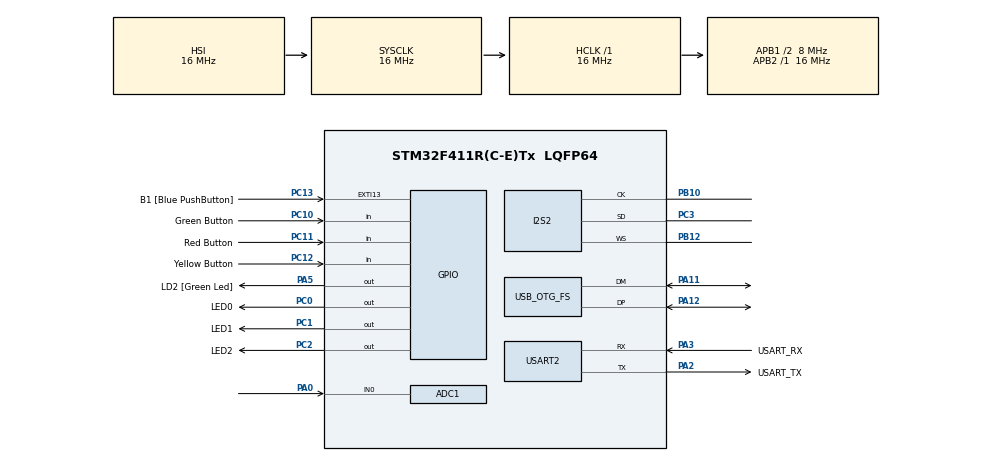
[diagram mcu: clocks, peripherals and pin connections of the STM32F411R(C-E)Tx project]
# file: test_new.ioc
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ADC1.Channel-10\#ChannelRegularConversion=ADC_CHANNEL_0
ADC1.ContinuousConvMode=ENABLE
ADC1.DMAContinuousRequests=ENABLE
ADC1.NbrOfConversionFlag=1
ADC1.Rank-10\#ChannelRegularConversion=1
ADC1.SamplingTime-10\#ChannelRegularConversion=ADC_SAMPLETIME_3CYCLES
ADC1.master=1
Dma.ADC1.0.Direction=DMA_PERIPH_TO_MEMORY
Dma.ADC1.0.FIFOMode=DMA_FIFOMODE_DISABLE
Dma.ADC1.0.Instance=DMA2_Stream0
Dma.ADC1.0.MemDataAlignment=DMA_MDATAALIGN_HALFWORD
Dma.ADC1.0.MemInc=DMA_MINC_ENABLE
Dma.ADC1.0.Mode=DMA_CIRCULAR
Dma.ADC1.0.PeriphDataAlignment=DMA_PDATAALIGN_HALFWORD
Dma.ADC1.0.PeriphInc=DMA_PINC_DISABLE
Dma.ADC1.0.Priority=DMA_PRIORITY_LOW
Dma.Request0=ADC1
Dma.Request1=SPI2_TX
Dma.SPI2_TX.1.Direction=DMA_MEMORY_TO_PERIPH
Dma.SPI2_TX.1.FIFOMode=DMA_FIFOMODE_DISABLE
Dma.SPI2_TX.1.Instance=DMA1_Stream4
Dma.SPI2_TX.1.MemDataAlignment=DMA_MDATAALIGN_HALFWORD
Dma.SPI2_TX.1.MemInc=DMA_MINC_ENABLE
Dma.SPI2_TX.1.Mode=DMA_NORMAL
Dma.SPI2_TX.1.PeriphDataAlignment=DMA_PDATAALIGN_HALFWORD
Dma.SPI2_TX.1.PeriphInc=DMA_PINC_DISABLE
Dma.SPI2_TX.1.Priority=DMA_PRIORITY_LOW
I2S2.AudioFreq=I2S_AUDIOFREQ_16K
I2S2.DataFormat=I2S_DATAFORMAT_16B
I2S2.ErrorAudioFreq=0.15 %
I2S2.FullDuplexMode=I2S_FULLDUPLEXMODE_DISABLE
I2S2.Instance=SPI$Index
I2S2.RealAudioFreq=16.025 KHz
I2S2.Standard=I2S_STANDARD_PHILIPS
I2S2.VirtualMode=I2S_MODE_MASTER
Mcu.Family=STM32F4
Mcu.Name=STM32F411R(C-E)Tx
Mcu.Package=LQFP64
NVIC.DMA1_Stream4_IRQn=true\:0\:0\:false\:false\:true\:false\:true\:true
NVIC.DMA2_Stream0_IRQn=true\:0\:0\:false\:false\:true\:false\:true\:true
NVIC.OTG_FS_IRQn=true\:0\:0\:false\:false\:true\:false\:true\:true
NVIC.PriorityGroup=NVIC_PRIORITYGROUP_0
PA0-WKUP.Signal=ADCx_IN0
PA11.Mode=Device_Only
PA11.Signal=USB_OTG_FS_DM
PA12.Mode=Device_Only
PA12.Signal=USB_OTG_FS_DP
PA13.GPIO_Label=TMS
PA13.Mode=Serial_Wire
PA13.Signal=SYS_JTMS-SWDIO
PA14.GPIO_Label=TCK
PA14.Mode=Serial_Wire
PA14.Signal=SYS_JTCK-SWCLK
PA2.GPIO_Label=USART_TX
PA2.Mode=Asynchronous
PA2.Signal=USART2_TX
PA3.GPIO_Label=USART_RX
PA3.Mode=Asynchronous
PA3.Signal=USART2_RX
PA5.GPIO_Label=LD2 [Green Led]
PA5.Signal=GPIO_Output
PB10.Mode=Half_Duplex_Master
PB10.Signal=I2S2_CK
PB12.Mode=Half_Duplex_Master
PB12.Signal=I2S2_WS
PB3.GPIO_Label=SWO
PB3.Signal=SYS_JTDO-SWO
PC0.GPIO_Label=LED0
PC0.GPIO_ModeDefaultOutputPP=GPIO_MODE_OUTPUT_PP
PC0.GPIO_PuPd=GPIO_NOPULL
PC0.GPIO_Speed=GPIO_SPEED_FREQ_LOW
PC0.PinState=GPIO_PIN_RESET
PC0.Signal=GPIO_Output
PC1.GPIO_Label=LED1
PC1.GPIO_ModeDefaultOutputPP=GPIO_MODE_OUTPUT_PP
PC1.GPIO_PuPd=GPIO_NOPULL
PC1.GPIO_Speed=GPIO_SPEED_FREQ_LOW
PC1.PinState=GPIO_PIN_RESET
PC1.Signal=GPIO_Output
PC10.GPIO_Label=Green Button
PC10.GPIO_PuPd=GPIO_NOPULL
PC10.Signal=GPIO_Input
PC11.GPIO_Label=Red Button
PC11.GPIO_PuPd=GPIO_NOPULL
PC11.Signal=GPIO_Input
PC12.GPIO_Label=Yellow Button
PC12.GPIO_PuPd=GPIO_NOPULL
PC12.Signal=GPIO_Input
PC13-ANTI_TAMP.GPIO_Label=B1 [Blue PushButton]
PC13-ANTI_TAMP.GPIO_ModeDefaultEXTI=GPIO_MODE_IT_FALLING
PC13-ANTI_TAMP.Signal=GPXTI13
PC14-OSC32_IN.Mode=LSE-External-Oscillator
PC14-OSC32_IN.Signal=RCC_OSC32_IN
PC15-OSC32_OUT.Mode=LSE-External-Oscillator
PC15-OSC32_OUT.Signal=RCC_OSC32_OUT
PC2.GPIO_Label=LED2
PC2.GPIO_ModeDefaultOutputPP=GPIO_MODE_OUTPUT_PP
PC2.GPIO_PuPd=GPIO_NOPULL
PC2.GPIO_Speed=GPIO_SPEED_FREQ_LOW
PC2.PinState=GPIO_PIN_RESET
PC2.Signal=GPIO_Output
PC3.Mode=Half_Duplex_Master
PC3.Signal=I2S2_SD
PH0\ -\ OSC_IN.Mode=HSE-External-Clock-Source
PH0\ -\ OSC_IN.Signal=RCC_OSC_IN
PH1\ -\ OSC_OUT.Mode=HSE-External-Clock-Source
PH1\ -\ OSC_OUT.Signal=RCC_OSC_OUT
ProjectManager.HeapSize=0x200
ProjectManager.StackSize=0x400
ProjectManager.TargetToolchain=STM32CubeIDE
RCC.48MHZClocksFreq_Value=48000000
RCC.AHBFreq_Value=16000000
RCC.APB1CLKDivider=RCC_HCLK_DIV2
RCC.APB1Freq_Value=8000000
RCC.APB1TimFreq_Value=16000000
RCC.APB2Freq_Value=16000000
RCC.APB2TimFreq_Value=16000000
RCC.CortexFreq_Value=16000000
RCC.FLatency-AdvancedSettings=FLASH_LATENCY_0
RCC.HCLKFreq_Value=16000000
RCC.HSE_VALUE=8000000
RCC.HSI_VALUE=16000000
RCC.PLLI2SM=4
RCC.PLLI2SN=200
RCC.PLLI2SR=4
RCC.PLLM=4
RCC.PLLN=72
RCC.PLLP=RCC_PLLP_DIV4
RCC.PLLQ=3
RCC.SYSCLKFreq_VALUE=16000000
RCC.VCOOutputFreq_Value=144000000
SH.ADCx_IN0.0=ADC1_IN0,IN0
USART2.VirtualMode=VM_ASYNC
USB_DEVICE.CLASS_NAME_FS=CUSTOM_HID
USB_DEVICE.MANUFACTURER_STRING=@Microsoft
USB_DEVICE.PID_CUSTOMHID_FS=654 
USB_DEVICE.USBD_CUSTOMHID_OUTREPORT_BUF_SIZE=8
USB_DEVICE.USBD_CUSTOM_HID_REPORT_DESC_SIZE=121
USB_DEVICE.USBD_SELF_POWERED=1
USB_DEVICE.VID=1118
USB_DEVICE.VirtualMode=CustomHid
USB_DEVICE.VirtualModeFS=Custom_Hid_FS
USB_OTG_FS.VirtualMode=Device_Only
VP_USB_DEVICE_VS_USB_DEVICE_CUSTOM_HID_FS.Mode=CUSTOM_HID_FS
board=NUCLEO-F411RE

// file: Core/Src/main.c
/* USER CODE BEGIN Header */
/**
  ******************************************************************************
  * @file           : main.c
  * @brief          : Main program body
  ******************************************************************************
  * @attention
  *
  * Copyright (c) 2024 STMicroelectronics.
  * All rights reserved.
  *
  * This software is licensed under terms that can be found in the LICENSE file
  * in the root directory of this software component.
  * If no LICENSE file comes with this software, it is provided AS-IS.
  *
  ******************************************************************************
  */
/* USER CODE END Header */
#include "main.h"
#include "usb_device.h"

/* USER CODE BEGIN Includes */
#include "usbd_customhid.h"

/* USER CODE END Includes */

ADC_HandleTypeDef hadc1;
DMA_HandleTypeDef hdma_adc1;

I2S_HandleTypeDef hi2s2;
DMA_HandleTypeDef hdma_spi2_tx;

UART_HandleTypeDef huart2;

/* USER CODE BEGIN PV */

extern USBD_HandleTypeDef hUsbDeviceFS;

uint16_t adc_out[32] = {0};
uint16_t adc_avg;
uint8_t input_buff[20] = {0};	//Buffer for holding inputs to send to the computer

/* USER CODE END PV */

void SystemClock_Config(void);
static void MX_GPIO_Init(void);
static void MX_DMA_Init(void);
static void MX_USART2_UART_Init(void);
static void MX_ADC1_Init(void);
static void MX_I2S2_Init(void);

int main(void)
{

  /* MCU Configuration--------------------------------------------------------*/

  /* Reset of all peripherals, Initializes the Flash interface and the Systick. */
  HAL_Init();

  /* Configure the system clock */
  SystemClock_Config();

  /* Initialize all configured peripherals */
  MX_GPIO_Init();
  MX_DMA_Init();
  MX_USART2_UART_Init();
  MX_ADC1_Init();
  MX_I2S2_Init();
  MX_USB_DEVICE_Init();
  /* USER CODE BEGIN 2 */

  HAL_ADC_Start_DMA(&hadc1, (uint32_t*)&adc_out, 32);

  /* USER CODE END 2 */

  /* Infinite loop */
  while (1)
  {

    /* USER CODE BEGIN 3 */

	//Configure the green button to act as button 1 on an Xbox 360 controller
	if(HAL_GPIO_ReadPin(GPIOC, Green_Button_Pin) == GPIO_PIN_SET) {
		input_buff[3] |= 0x10;
	} else {
		input_buff[3] &= ~(0x10);
	}

	//Configure the red button to act as button 2 on an Xbox 360 controller
	if(HAL_GPIO_ReadPin(GPIOC, Red_Button_Pin) == GPIO_PIN_SET) {
		input_buff[3] |= 0x20;
	} else {
		input_buff[3] &= ~(0x20);
	}

	//Configure the yellow button to act as button 3 on an Xbox 360 controller
	if(HAL_GPIO_ReadPin(GPIOC, Yellow_Button_Pin) == GPIO_PIN_SET) {
		input_buff[3] |= 0x40;
	} else {
		input_buff[3] &= ~(0x40);
	}

	// Average the array of adc_out values
	uint32_t adc_sum = 0;
	for(int i = 0; i < 32; i++) {
		adc_sum += adc_out[i];
	}
	adc_avg = adc_sum >> 5;  //This divides by 32

	input_buff[5] = adc_avg >> 4;	//This divides by 16 to get a 12-bit value to an 8-bit value

	//Send the current buffer to the computer
	USBD_CUSTOM_HID_SendReport(&hUsbDeviceFS, input_buff, 20);

	//Add a short delay
	HAL_Delay (10);
  }
  /* USER CODE END 3 */
}

void SystemClock_Config(void)
{
  RCC_OscInitTypeDef RCC_OscInitStruct = {0};
  RCC_ClkInitTypeDef RCC_ClkInitStruct = {0};

  /** Configure the main internal regulator output voltage
  */
  __HAL_RCC_PWR_CLK_ENABLE();
  __HAL_PWR_VOLTAGESCALING_CONFIG(PWR_REGULATOR_VOLTAGE_SCALE1);

  /** Initializes the RCC Oscillators according to the specified parameters
  * in the RCC_OscInitTypeDef structure.
  */
  RCC_OscInitStruct.OscillatorType = RCC_OSCILLATORTYPE_HSI|RCC_OSCILLATORTYPE_HSE;
  RCC_OscInitStruct.HSEState = RCC_HSE_BYPASS;
  RCC_OscInitStruct.HSIState = RCC_HSI_ON;
  RCC_OscInitStruct.HSICalibrationValue = RCC_HSICALIBRATION_DEFAULT;
  RCC_OscInitStruct.PLL.PLLState = RCC_PLL_ON;
  RCC_OscInitStruct.PLL.PLLSource = RCC_PLLSOURCE_HSE;
  RCC_OscInitStruct.PLL.PLLM = 4;
  RCC_OscInitStruct.PLL.PLLN = 72;
  RCC_OscInitStruct.PLL.PLLP = RCC_PLLP_DIV4;
  RCC_OscInitStruct.PLL.PLLQ = 3;
  if (HAL_RCC_OscConfig(&RCC_OscInitStruct) != HAL_OK)
  {
    Error_Handler();
  }

  /** Initializes the CPU, AHB and APB buses clocks
  */
  RCC_ClkInitStruct.ClockType = RCC_CLOCKTYPE_HCLK|RCC_CLOCKTYPE_SYSCLK
                              |RCC_CLOCKTYPE_PCLK1|RCC_CLOCKTYPE_PCLK2;
  RCC_ClkInitStruct.SYSCLKSource = RCC_SYSCLKSOURCE_HSI;
  RCC_ClkInitStruct.AHBCLKDivider = RCC_SYSCLK_DIV1;
  RCC_ClkInitStruct.APB1CLKDivider = RCC_HCLK_DIV2;
  RCC_ClkInitStruct.APB2CLKDivider = RCC_HCLK_DIV1;

  if (HAL_RCC_ClockConfig(&RCC_ClkInitStruct, FLASH_LATENCY_0) != HAL_OK)
  {
    Error_Handler();
  }
}

static void MX_ADC1_Init(void)
{

  ADC_ChannelConfTypeDef sConfig = {0};

  /** Configure the global features of the ADC (Clock, Resolution, Data Alignment and number of conversion)
  */
  hadc1.Instance = ADC1;
  hadc1.Init.ClockPrescaler = ADC_CLOCK_SYNC_PCLK_DIV2;
  hadc1.Init.Resolution = ADC_RESOLUTION_12B;
  hadc1.Init.ScanConvMode = DISABLE;
  hadc1.Init.ContinuousConvMode = ENABLE;
  hadc1.Init.DiscontinuousConvMode = DISABLE;
  hadc1.Init.ExternalTrigConvEdge = ADC_EXTERNALTRIGCONVEDGE_NONE;
  hadc1.Init.ExternalTrigConv = ADC_SOFTWARE_START;
  hadc1.Init.DataAlign = ADC_DATAALIGN_RIGHT;
  hadc1.Init.NbrOfConversion = 1;
  hadc1.Init.DMAContinuousRequests = ENABLE;
  hadc1.Init.EOCSelection = ADC_EOC_SINGLE_CONV;
  if (HAL_ADC_Init(&hadc1) != HAL_OK)
  {
    Error_Handler();
  }

  /** Configure for the selected ADC regular channel its corresponding rank in the sequencer and its sample time.
  */
  sConfig.Channel = ADC_CHANNEL_0;
  sConfig.Rank = 1;
  sConfig.SamplingTime = ADC_SAMPLETIME_3CYCLES;
  if (HAL_ADC_ConfigChannel(&hadc1, &sConfig) != HAL_OK)
  {
    Error_Handler();
  }

}

static void MX_I2S2_Init(void)
{

  hi2s2.Instance = SPI2;
  hi2s2.Init.Mode = I2S_MODE_MASTER_TX;
  hi2s2.Init.Standard = I2S_STANDARD_PHILIPS;
  hi2s2.Init.DataFormat = I2S_DATAFORMAT_16B;
  hi2s2.Init.MCLKOutput = I2S_MCLKOUTPUT_DISABLE;
  hi2s2.Init.AudioFreq = I2S_AUDIOFREQ_16K;
  hi2s2.Init.CPOL = I2S_CPOL_LOW;
  hi2s2.Init.ClockSource = I2S_CLOCK_PLL;
  hi2s2.Init.FullDuplexMode = I2S_FULLDUPLEXMODE_DISABLE;
  if (HAL_I2S_Init(&hi2s2) != HAL_OK)
  {
    Error_Handler();
  }

}

static void MX_USART2_UART_Init(void)
{

  huart2.Instance = USART2;
  huart2.Init.BaudRate = 115200;
  huart2.Init.WordLength = UART_WORDLENGTH_8B;
  huart2.Init.StopBits = UART_STOPBITS_1;
  huart2.Init.Parity = UART_PARITY_NONE;
  huart2.Init.Mode = UART_MODE_TX_RX;
  huart2.Init.HwFlowCtl = UART_HWCONTROL_NONE;
  huart2.Init.OverSampling = UART_OVERSAMPLING_16;
  if (HAL_UART_Init(&huart2) != HAL_OK)
  {
    Error_Handler();
  }

}

static void MX_DMA_Init(void)
{

  /* DMA controller clock enable */
  __HAL_RCC_DMA2_CLK_ENABLE();
  __HAL_RCC_DMA1_CLK_ENABLE();

  /* DMA interrupt init */
  /* DMA1_Stream4_IRQn interrupt configuration */
  HAL_NVIC_SetPriority(DMA1_Stream4_IRQn, 0, 0);
  HAL_NVIC_EnableIRQ(DMA1_Stream4_IRQn);
  /* DMA2_Stream0_IRQn interrupt configuration */
  HAL_NVIC_SetPriority(DMA2_Stream0_IRQn, 0, 0);
  HAL_NVIC_EnableIRQ(DMA2_Stream0_IRQn);

}

static void MX_GPIO_Init(void)
{
  GPIO_InitTypeDef GPIO_InitStruct = {0};

  /* GPIO Ports Clock Enable */
  __HAL_RCC_GPIOC_CLK_ENABLE();
  __HAL_RCC_GPIOH_CLK_ENABLE();
  __HAL_RCC_GPIOA_CLK_ENABLE();
  __HAL_RCC_GPIOB_CLK_ENABLE();

  /*Configure GPIO pin Output Level */
  HAL_GPIO_WritePin(GPIOC, LED0_Pin|LED1_Pin|LED2_Pin, GPIO_PIN_RESET);

  /*Configure GPIO pin Output Level */
  HAL_GPIO_WritePin(LD2_GPIO_Port, LD2_Pin, GPIO_PIN_RESET);

  /*Configure GPIO pin : B1_Pin */
  GPIO_InitStruct.Pin = B1_Pin;
  GPIO_InitStruct.Mode = GPIO_MODE_IT_FALLING;
  GPIO_InitStruct.Pull = GPIO_NOPULL;
  HAL_GPIO_Init(B1_GPIO_Port, &GPIO_InitStruct);

  /*Configure GPIO pins : LED0_Pin LED1_Pin LED2_Pin */
  GPIO_InitStruct.Pin = LED0_Pin|LED1_Pin|LED2_Pin;
  GPIO_InitStruct.Mode = GPIO_MODE_OUTPUT_PP;
  GPIO_InitStruct.Pull = GPIO_NOPULL;
  GPIO_InitStruct.Speed = GPIO_SPEED_FREQ_LOW;
  HAL_GPIO_Init(GPIOC, &GPIO_InitStruct);

  /*Configure GPIO pin : LD2_Pin */
  GPIO_InitStruct.Pin = LD2_Pin;
  GPIO_InitStruct.Mode = GPIO_MODE_OUTPUT_PP;
  GPIO_InitStruct.Pull = GPIO_NOPULL;
  GPIO_InitStruct.Speed = GPIO_SPEED_FREQ_LOW;
  HAL_GPIO_Init(LD2_GPIO_Port, &GPIO_InitStruct);

  /*Configure GPIO pins : Green_Button_Pin Red_Button_Pin Yellow_Button_Pin */
  GPIO_InitStruct.Pin = Green_Button_Pin|Red_Button_Pin|Yellow_Button_Pin;
  GPIO_InitStruct.Mode = GPIO_MODE_INPUT;
  GPIO_InitStruct.Pull = GPIO_NOPULL;
  HAL_GPIO_Init(GPIOC, &GPIO_InitStruct);

}

void Error_Handler(void)
{
  __disable_irq();
  while (1)
  {
  }
}
